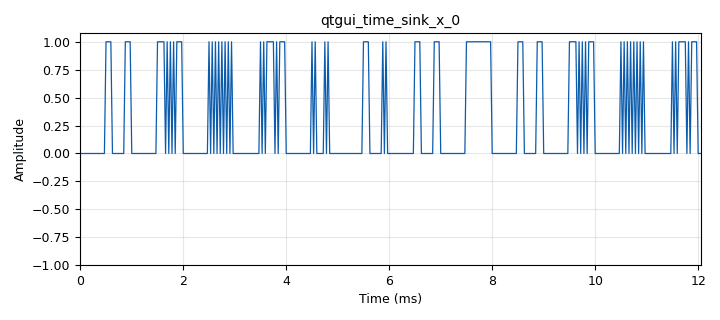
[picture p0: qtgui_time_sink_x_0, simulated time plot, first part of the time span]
options:
  parameters:
    author: sten
    generate_options: qt_gui
    id: Labo_8
    output_language: python
    title: Oefening 1
  states: {}

blocks:
- name: samp_rate
  id: variable
  parameters:
    value: '32000'
  states: {}
- name: blocks_int_to_float_0
  id: blocks_int_to_float
  parameters:
    scale: '1'
  states: {}
- name: blocks_packed_to_unpacked_xx_0
  id: blocks_packed_to_unpacked_xx
  parameters:
    bits_per_chunk: '1'
    endianness: gr.GR_MSB_FIRST
    type: int
  states: {}
- name: blocks_vector_source_x_0
  id: blocks_vector_source_x
  parameters:
    repeat: 'True'
    type: int
    vector: (0xF00F, 0xFFFF, 0xF00F, 0xFAAF, 0xAAAA, 0xAFAF, 0xA0A0, 0xF00A)
  states: {}
- name: blocks_vector_to_stream_0
  id: blocks_vector_to_stream
  parameters:
    num_items: '1'
    type: int
  states: {}
- name: qtgui_time_sink_x_0
  id: qtgui_time_sink_x
  parameters:
    ctrlpanel: 'True'
    size: '1024'
    srate: samp_rate
    type: float
  states: {}
- name: virtual_sink_0
  id: virtual_sink
  parameters:
    stream_id: stream
  states: {}
- name: virtual_source_0
  id: virtual_source
  parameters:
    stream_id: stream
  states: {}

connections:
- [blocks_int_to_float_0, '0', qtgui_time_sink_x_0, '0']
- [blocks_packed_to_unpacked_xx_0, '0', blocks_vector_to_stream_0, '0']
- [blocks_vector_source_x_0, '0', blocks_packed_to_unpacked_xx_0, '0']
- [blocks_vector_to_stream_0, '0', virtual_sink_0, '0']
- [virtual_source_0, '0', blocks_int_to_float_0, '0']

metadata:
  file_format: 1
  grc_version: 3.10.7.0
